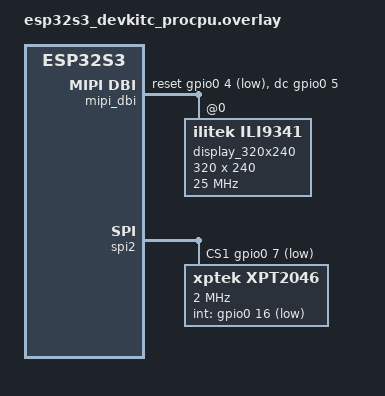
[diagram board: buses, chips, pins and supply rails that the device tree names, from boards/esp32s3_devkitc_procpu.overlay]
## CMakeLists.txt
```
cmake_minimum_required(VERSION 3.20.0)
find_package(Zephyr REQUIRED HINTS $ENV{ZEPHYR_BASE})
project(ssd1306_lcd LANGUAGES C)

target_sources(app PRIVATE src/main.c)
```

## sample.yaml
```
sample:
  description: Display sample application
  name: display-sample-application 
common:
  build_only: true
  integration_platforms:
    - esp32s3_devkitc_procpu
tests:
  app.default: {}
  app.debug:
    extra_overlay_confs:
      - debug.conf
```

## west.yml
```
manifest:
  self:
    west-commands: scripts/west-commands.yml

  remotes:
    - name: zephyrproject-rtos
      url-base: https://github.com/zephyrproject-rtos

  projects:
    - name: zephyr
      remote: zephyrproject-rtos
      revision: main
      import:
        # By using name-allowlist we can clone only the modules that are
        # strictly needed by the application.
        name-allowlist:
          - hal_espressif
          - lvgl
```

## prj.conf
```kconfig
CONFIG_SPI=y
CONFIG_ILI9341=y
# CONFIG_ILI9XXX_READ=n
CONFIG_DISPLAY=y
CONFIG_INPUT=y
CONFIG_INPUT_EVENT_DUMP=y
CONFIG_INPUT_XPT2046=y
# CONFIG_INPUT_MODE_THREAD=n
CONFIG_LVGL=y

# CONFIG_MAIN_STACK_SIZE=8192
# CONFIG_MAIN_STACK_SIZE=16384
CONFIG_MAIN_STACK_SIZE=32768

CONFIG_IDLE_STACK_SIZE=1024
CONFIG_ISR_STACK_SIZE=4096
# CONFIG_SYSTEM_WORKQUEUE_STACK_SIZE=2048
# CONFIG_SYSTEM_WORKQUEUE_STACK_SIZE=4096
CONFIG_SYSTEM_WORKQUEUE_STACK_SIZE=8192

# CONFIG_HEAP_MEM_POOL_SIZE=16384
CONFIG_HEAP_MEM_POOL_SIZE=32768

# compiler
# CONFIG_DEBUG_OPTIMIZATIONS=y

# Zephyr boot banner
CONFIG_BOOT_BANNER=y
# CONFIG_BOOT_BANNER_STRING=""

# lvgl
# CONFIG_LV_Z_BUFFER_ALLOC_STATIC=y

# CONFIG_LV_Z_MEM_POOL_SIZE=16384
# CONFIG_LV_Z_MEM_POOL_SIZE=32768
CONFIG_LV_Z_MEM_POOL_SIZE=65536

CONFIG_LV_Z_POINTER_INPUT=y
# CONFIG_LV_USE_PERF_MONITOR=y
CONFIG_LV_USE_LOG=y
CONFIG_LV_CONF_MINIMAL=y
CONFIG_LV_USE_THEME_DEFAULT=y
CONFIG_LV_USE_LABEL=y
CONFIG_LV_USE_BUTTON=y
# CONFIG_LV_USE_ARC=y
# CONFIG_LV_USE_IMG=y
# CONFIG_LV_USE_MONKEY=y
# CONFIG_LV_FONT_UNSCII_16=y
CONFIG_LV_FONT_MONTSERRAT_14=y
CONFIG_LV_FONT_DEFAULT_MONTSERRAT_14=y

# logging
# CONFIG_LOG=y
CONFIG_LOG_MODE_IMMEDIATE=y
# CONFIG_LOG_MODE_DEFERRED=y
# CONFIG_LOG_BUFFER_SIZE=4097
CONFIG_APP_LOG_LEVEL_DBG=y
# CONFIG_DISPLAY_LOG_LEVEL_DBG=y
CONFIG_INPUT_LOG_LEVEL_DBG=y
# CONFIG_LV_LOG_LEVEL_TRACE=y
# CONFIG_LV_LOG_LEVEL_USER=y
# CONFIG_LV_LOG_LEVEL_INFO=y
# CONFIG_DEBUG_COREDUMP=y
# CONFIG_DEBUG_COREDUMP_BACKEND_LOGGING=y
# CONFIG_DEBUG_COREDUMP_MEMORY_DUMP_MIN=y
# CONFIG_DEBUG_COREDUMP_MEMORY_DUMP_THREADS=y
# CONFIG_DEBUG_COREDUMP_MEMORY_DUMP_LINKER_RAM=y
```

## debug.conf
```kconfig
# compiler
CONFIG_DEBUG_OPTIMIZATIONS=y

# logging
CONFIG_LOG=y
CONFIG_LOG_MODE_IMMEDIATE=y
#CONFIG_APP_LOG_LEVEL_DBG=y
#CONFIG_DISPLAY_LOG_LEVEL_DBG=y
#CONFIG_CFB_LOG_LEVEL_DBG=y
```

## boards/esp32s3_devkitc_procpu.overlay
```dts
#include <dt-bindings/spi/spi.h>

/ {
	chosen {
		zephyr,sram = &sram1;
		zephyr,console = &uart0;
		zephyr,shell-uart = &uart0;
		zephyr,flash = &flash0;
		zephyr,code-partition = &slot0_partition;
		zephyr,display = &display_320x240;
	};

	aliases {
	};

	lvgl_pointer {
			compatible = "zephyr,lvgl-pointer-input";
			input = <&xpt2046>;
			swap-xy;
			#invert-x;
			invert-y;
	};

	mipi_dbi {
		compatible = "zephyr,mipi-dbi-spi";
		write-only;
		spi-dev = <&spi2>;
		dc-gpios = <&gpio0 5 GPIO_ACTIVE_HIGH>;
		reset-gpios = <&gpio0 4 GPIO_ACTIVE_LOW>;
		#address-cells = <1>;
		#size-cells = <0>;

		display_320x240: ili9341@0 {
			compatible = "ilitek,ili9341";
			status = "okay";
			reg = <0>;
			mipi-max-frequency = <DT_FREQ_M(25)>;
			mipi-mode = "MIPI_DBI_MODE_SPI_4WIRE";
			/*mipi-cpol;*/
			/*mipi-cpha;*/
			/*mipi-hold-cs;*/
			te-mode = "MIPI_DBI_TE_NO_EDGE";
			duplex = <SPI_FULL_DUPLEX>;
			width = <320>;
			height = <240>;
			rotation = <270>;
			pixel-format = <0>;
			display-inversion;
		};
	};
};

&spim2_default {
	group1 {
		pinmux = <SPIM2_SCLK_GPIO1>,
			 <SPIM2_MISO_GPIO15>;
	};
	group2 {
		pinmux = <SPIM2_MOSI_GPIO2>;
		output-low;
	};
};

&spi2 {
	status = "okay";

	pinctrl-0 = <&spim2_default>;
	pinctrl-names = "default";
	cs-gpios = <&gpio0 6 GPIO_ACTIVE_LOW>,
	           <&gpio0 7 GPIO_ACTIVE_LOW>;
	
	xpt2046: xpt2046@1 {
		reg = <1>;
		compatible = "xptek,xpt2046";
		spi-max-frequency = <2000000>;
		int-gpios = <&gpio0 16 (GPIO_ACTIVE_LOW | GPIO_PULL_UP)>;
		touchscreen-size-x = <320>;
		touchscreen-size-y = <240>;
		min-x = <1350>;
		max-x = <3850>;
		min-y = <250>;
		max-y = <3300>;
		z-threshold = <750>;
		reads = <10>;
	};
};
```

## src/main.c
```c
/* #include "core/lv_obj_style.h" */
/* #include "font/lv_font.h" */
/* #include "misc/lv_style.h" */
#include "esp_attr.h"
#include <app_version.h>

#include <stdio.h>
#include <zephyr/kernel.h>
#include <zephyr/display/cfb.h>
#include <zephyr/logging/log.h>

#include <lvgl.h>
/* #include <core/lv_obj_style.h> */
/* #include_next <font/lv_font.h> */
/* #include <widgets/lv_label.h> */

LOG_MODULE_REGISTER(main, CONFIG_APP_LOG_LEVEL);

/* const struct device *display_device; */

#ifdef CONFIG_LV_Z_POINTER_INPUT

IRAM_ATTR static void button_event_handler(lv_event_t * e)
{
	lv_event_code_t code = lv_event_get_code(e);

	if(code == LV_EVENT_CLICKED) {
		LOG_DBG("Clicked");
	}
}

#endif

int main(void) {
	const struct device *display_dev;
	lv_obj_t *screen;
	lv_obj_t *button;
	lv_obj_t *label;
	/* static lv_style_t label_style; */

  LOG_INF("Display sample apllication");

	/* Init display */
	display_dev = DEVICE_DT_GET(DT_CHOSEN(zephyr_display));;
	if (!device_is_ready(display_dev)) {
		LOG_ERR("Device not ready, aborting test");
		return 0;
	}

	/* lv_style_init(&label_style); */
	/* lv_style_set_prop(&label_style, LV_STYLE_TEXT_FONT, &lv_font_montserrat_14); */

	screen = lv_scr_act();
	button = lv_btn_create(screen);
	lv_obj_center(button);
	label = lv_label_create(button);
	/* label = lv_label_create(screen); */
#ifdef CONFIG_LV_Z_POINTER_INPUT
	lv_obj_add_event_cb(button, button_event_handler, LV_EVENT_ALL, NULL);
	/* lv_obj_add_event_cb(button, button_event_handler, LV_EVENT_CLICKED, NULL); */
#endif
	/* lv_obj_add_style(label, &label_style, 0); */
	lv_obj_center(label);
	lv_label_set_text(label, "<<<<<Hello world!>>>>>");

	lv_task_handler();
	display_blanking_off(display_dev);

	while (1) {
		static uint32_t counter = 0;
		char str[4];

		counter++;
		snprintf(str, 4, "%03"PRIu32, counter % 1000);
		lv_label_set_text(label, str);
		k_sleep(K_MSEC(lv_task_handler()));
	}

	return 0;
}
```
